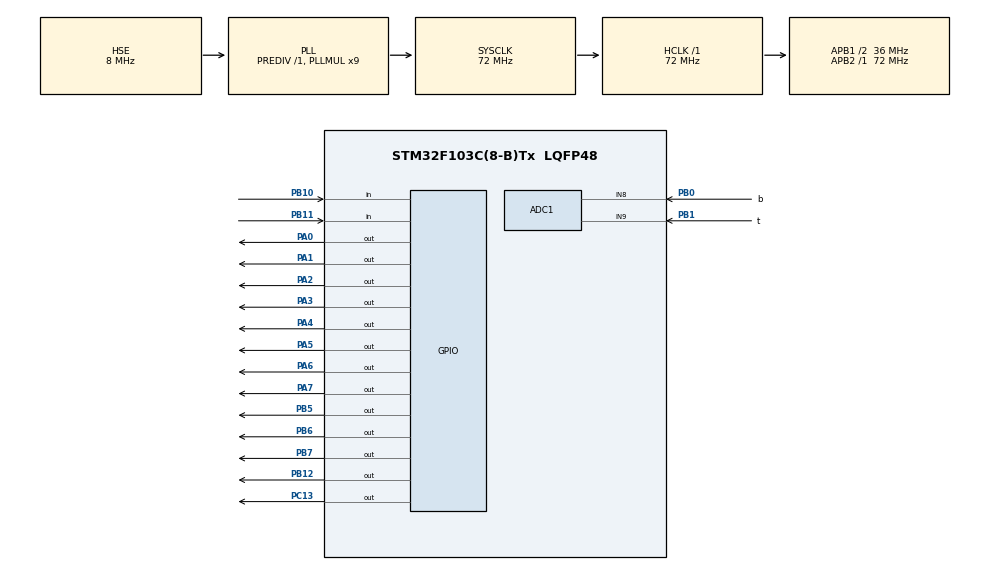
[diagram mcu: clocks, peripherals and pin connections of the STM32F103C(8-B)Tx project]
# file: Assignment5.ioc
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ADC1.Channel-2\#ChannelRegularConversion=ADC_CHANNEL_8
ADC1.NbrOfConversionFlag=1
ADC1.Rank-2\#ChannelRegularConversion=1
ADC1.SamplingTime-2\#ChannelRegularConversion=ADC_SAMPLETIME_1CYCLE_5
ADC1.master=1
ADC2.Channel-0\#ChannelRegularConversion=ADC_CHANNEL_9
ADC2.NbrOfConversionFlag=1
ADC2.Rank-0\#ChannelRegularConversion=1
ADC2.SamplingTime-0\#ChannelRegularConversion=ADC_SAMPLETIME_1CYCLE_5
FREERTOS.Queues01=BrakeQueue,16,float,0,Dynamic,NULL,NULL;ThrottleQueue,16,float,0,Dynamic,NULL,NULL;GearQueue,16,uint8_t,0,Dynamic,NULL,NULL;SpeedQueue,16,uint32_t,0,Dynamic,NULL,NULL
FREERTOS.Tasks01=breakTask,24,64,BreakInputTask,Default,NULL,Dynamic,NULL,NULL;throttleTask,24,64,ThrottleInputTask,Default,NULL,Dynamic,NULL,NULL;dataProcessingT,24,64,DataProcessingTask,Default,NULL,Dynamic,NULL,NULL;outputTask,24,64,OutputDisplayTask,Default,NULL,Dynamic,NULL,NULL;gearTask,24,64,GearSelectionTask,Default,NULL,Dynamic,NULL,NULL
FREERTOS.configMINIMAL_STACK_SIZE=64
Mcu.Family=STM32F1
Mcu.Name=STM32F103C(8-B)Tx
Mcu.Package=LQFP48
NVIC.PriorityGroup=NVIC_PRIORITYGROUP_4
NVIC.TIM2_IRQn=true\:15\:0\:false\:false\:true\:false\:false\:true\:true
NVIC.TimeBase=TIM2_IRQn
NVIC.TimeBaseIP=TIM2
PA0-WKUP.Signal=GPIO_Output
PA1.Signal=GPIO_Output
PA13.Mode=Serial_Wire
PA13.Signal=SYS_JTMS-SWDIO
PA14.Mode=Serial_Wire
PA14.Signal=SYS_JTCK-SWCLK
PA2.Signal=GPIO_Output
PA3.Signal=GPIO_Output
PA4.Signal=GPIO_Output
PA5.Signal=GPIO_Output
PA6.Signal=GPIO_Output
PA7.Signal=GPIO_Output
PB0.GPIO_Label=b
PB0.Signal=ADCx_IN8
PB1.GPIO_Label=t
PB1.Signal=ADCx_IN9
PB10.GPIO_PuPd=GPIO_PULLDOWN
PB10.Signal=GPIO_Input
PB11.GPIO_PuPd=GPIO_PULLDOWN
PB11.Signal=GPIO_Input
PB12.Signal=GPIO_Output
PB5.Signal=GPIO_Output
PB6.Signal=GPIO_Output
PB7.Signal=GPIO_Output
PC13-TAMPER-RTC.Signal=GPIO_Output
PD0-OSC_IN.Mode=HSE-External-Oscillator
PD0-OSC_IN.Signal=RCC_OSC_IN
PD1-OSC_OUT.Mode=HSE-External-Oscillator
PD1-OSC_OUT.Signal=RCC_OSC_OUT
ProjectManager.HeapSize=0x200
ProjectManager.StackSize=0x400
ProjectManager.TargetToolchain=STM32CubeIDE
RCC.ADCPresc=RCC_ADCPCLK2_DIV6
RCC.AHBFreq_Value=72000000
RCC.APB1CLKDivider=RCC_HCLK_DIV2
RCC.APB1Freq_Value=36000000
RCC.APB1TimFreq_Value=72000000
RCC.APB2Freq_Value=72000000
RCC.APB2TimFreq_Value=72000000
RCC.HCLKFreq_Value=72000000
RCC.PLLMUL=RCC_PLL_MUL9
RCC.PLLSourceVirtual=RCC_PLLSOURCE_HSE
RCC.SYSCLKFreq_VALUE=72000000
RCC.SYSCLKSource=RCC_SYSCLKSOURCE_PLLCLK
RCC.USBFreq_Value=72000000
SH.ADCx_IN8.0=ADC1_IN8,IN8
SH.ADCx_IN9.0=ADC1_IN9,IN9
SH.ADCx_IN9.1=ADC2_IN9,IN9
VP_FREERTOS_VS_CMSIS_V2.Mode=CMSIS_V2
VP_SYS_VS_tim2.Mode=TIM2
board=custom

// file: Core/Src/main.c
/* USER CODE BEGIN Header */
/**
  ******************************************************************************
  * @file           : main.c
  * @brief          : Main program body
  ******************************************************************************
  * @attention
  *
  * Copyright (c) 2022 STMicroelectronics.
  * All rights reserved.
  *
  * This software is licensed under terms that can be found in the LICENSE file
  * in the root directory of this software component.
  * If no LICENSE file comes with this software, it is provided AS-IS.
  *
  ******************************************************************************
  */
/* USER CODE END Header */
#include "main.h"
#include "cmsis_os.h"

/* USER CODE BEGIN Includes */
#include "FreeRTOS.h"
#include "task.h"
#include "timers.h"
#include "queue.h"
#include "semphr.h"
#include "event_groups.h"

/* USER CODE END Includes */

ADC_HandleTypeDef hadc1;
ADC_HandleTypeDef hadc2;

/* Definitions for breakTask */
osThreadId_t breakTaskHandle;
const osThreadAttr_t breakTask_attributes = {
  .name = "breakTask",
  .stack_size = 64 * 4,
  .priority = (osPriority_t) osPriorityNormal,
};
/* Definitions for throttleTask */
osThreadId_t throttleTaskHandle;
const osThreadAttr_t throttleTask_attributes = {
  .name = "throttleTask",
  .stack_size = 64 * 4,
  .priority = (osPriority_t) osPriorityNormal,
};
/* Definitions for dataProcessingT */
osThreadId_t dataProcessingTHandle;
const osThreadAttr_t dataProcessingT_attributes = {
  .name = "dataProcessingT",
  .stack_size = 64 * 4,
  .priority = (osPriority_t) osPriorityNormal,
};
/* Definitions for outputTask */
osThreadId_t outputTaskHandle;
const osThreadAttr_t outputTask_attributes = {
  .name = "outputTask",
  .stack_size = 64 * 4,
  .priority = (osPriority_t) osPriorityNormal,
};
/* Definitions for gearTask */
osThreadId_t gearTaskHandle;
const osThreadAttr_t gearTask_attributes = {
  .name = "gearTask",
  .stack_size = 64 * 4,
  .priority = (osPriority_t) osPriorityNormal,
};
/* Definitions for BrakeQueue */
osMessageQueueId_t BrakeQueueHandle;
const osMessageQueueAttr_t BrakeQueue_attributes = {
  .name = "BrakeQueue"
};
/* Definitions for ThrottleQueue */
osMessageQueueId_t ThrottleQueueHandle;
const osMessageQueueAttr_t ThrottleQueue_attributes = {
  .name = "ThrottleQueue"
};
/* Definitions for GearQueue */
osMessageQueueId_t GearQueueHandle;
const osMessageQueueAttr_t GearQueue_attributes = {
  .name = "GearQueue"
};
/* Definitions for SpeedQueue */
osMessageQueueId_t SpeedQueueHandle;
const osMessageQueueAttr_t SpeedQueue_attributes = {
  .name = "SpeedQueue"
};

void SystemClock_Config(void);
static void MX_GPIO_Init(void);
static void MX_ADC1_Init(void);
static void MX_ADC2_Init(void);
void BreakInputTask(void *argument);
void ThrottleInputTask(void *argument);
void DataProcessingTask(void *argument);
void OutputDisplayTask(void *argument);
void GearSelectionTask(void *argument);

/* USER CODE BEGIN 0 */
void writeToDisplay(char hexChar) {
  // Write a char (8 bits) to the 8 data pins (A0 - A7)
  int dataPins[8] = {GPIO_PIN_0,GPIO_PIN_1,GPIO_PIN_2,GPIO_PIN_3,GPIO_PIN_4,GPIO_PIN_5,GPIO_PIN_6,GPIO_PIN_7};

  for(int i = 0; i<8; i++) {
    int result = hexChar & (1 << i);
    GPIO_PinState pinState = result ? GPIO_PIN_SET : GPIO_PIN_RESET;

    HAL_GPIO_WritePin(GPIOA, dataPins[i], pinState);
    osDelay(1);
  }

  // Set E = 1 for at least 230ns (latching pulse)
  HAL_GPIO_WritePin(GPIOB, GPIO_PIN_5, GPIO_PIN_SET);
  osDelay(5);
  HAL_GPIO_WritePin(GPIOB, GPIO_PIN_5, GPIO_PIN_RESET);
  osDelay(5);
}

void sendData(char hexChar) {
  // E not enabled
  HAL_GPIO_WritePin(GPIOB, GPIO_PIN_5, GPIO_PIN_RESET);
  osDelay(3);

  // Select data register
  HAL_GPIO_WritePin(GPIOB, GPIO_PIN_7, GPIO_PIN_SET);
  osDelay(3);

  // Select write mode
  HAL_GPIO_WritePin(GPIOB, GPIO_PIN_6, GPIO_PIN_RESET);
  osDelay(3);

  // Call function to write hex character to D7-D0
  writeToDisplay(hexChar);
}

void sendCommand(char hexCommand) {
  // E not enabled
  HAL_GPIO_WritePin(GPIOB, GPIO_PIN_5, GPIO_PIN_RESET);
  osDelay(3);

  // Select command register
  HAL_GPIO_WritePin(GPIOB, GPIO_PIN_7, GPIO_PIN_RESET);
  osDelay(3);

  // Select write mode
  HAL_GPIO_WritePin(GPIOB, GPIO_PIN_6, GPIO_PIN_RESET);
  osDelay(3);

  // Call function to write hex character to D7-D0
  writeToDisplay(hexCommand);
}

void clearDisplay() {
   // E not enabled
  HAL_GPIO_WritePin(GPIOB, GPIO_PIN_5, GPIO_PIN_RESET);
  osDelay(10);

  sendCommand(56);
  osDelay(10);
  sendCommand(15);
  osDelay(10);
  sendCommand(1);
  osDelay(10);
  sendCommand(6);
  osDelay(10);
}

void printDigits(int value, int num_digits) {
    int digits[6] = {0};

    int i = 0;
    while(value) {
        digits[i] = value % 10;
        value /= 10;
        i++;
    }

    for(int i = num_digits - 1; i >= 0; i--){
        sendData(0b00110000 + digits[i]);
    }
}

/* USER CODE END 0 */

int main(void)
{

  /* MCU Configuration--------------------------------------------------------*/

  /* Reset of all peripherals, Initializes the Flash interface and the Systick. */
  HAL_Init();

  /* Configure the system clock */
  SystemClock_Config();

  /* Initialize all configured peripherals */
  MX_GPIO_Init();
  MX_ADC1_Init();
  MX_ADC2_Init();

  /* Init scheduler */
  osKernelInitialize();

  /* Create the queue(s) */
  /* creation of BrakeQueue */
  BrakeQueueHandle = osMessageQueueNew (16, sizeof(float), &BrakeQueue_attributes);

  /* creation of ThrottleQueue */
  ThrottleQueueHandle = osMessageQueueNew (16, sizeof(float), &ThrottleQueue_attributes);

  /* creation of GearQueue */
  GearQueueHandle = osMessageQueueNew (16, sizeof(uint8_t), &GearQueue_attributes);

  /* creation of SpeedQueue */
  SpeedQueueHandle = osMessageQueueNew (16, sizeof(uint32_t), &SpeedQueue_attributes);

  /* Create the thread(s) */
  /* creation of breakTask */
  breakTaskHandle = osThreadNew(BreakInputTask, NULL, &breakTask_attributes);

  /* creation of throttleTask */
  throttleTaskHandle = osThreadNew(ThrottleInputTask, NULL, &throttleTask_attributes);

  /* creation of dataProcessingT */
  dataProcessingTHandle = osThreadNew(DataProcessingTask, NULL, &dataProcessingT_attributes);

  /* creation of outputTask */
  outputTaskHandle = osThreadNew(OutputDisplayTask, NULL, &outputTask_attributes);

  /* creation of gearTask */
  gearTaskHandle = osThreadNew(GearSelectionTask, NULL, &gearTask_attributes);

  /* Start scheduler */
  osKernelStart();

  /* We should never get here as control is now taken by the scheduler */
  /* Infinite loop */
  while (1)
  {

  }
}

void SystemClock_Config(void)
{
  RCC_OscInitTypeDef RCC_OscInitStruct = {0};
  RCC_ClkInitTypeDef RCC_ClkInitStruct = {0};
  RCC_PeriphCLKInitTypeDef PeriphClkInit = {0};

  /** Initializes the RCC Oscillators according to the specified parameters
  * in the RCC_OscInitTypeDef structure.
  */
  RCC_OscInitStruct.OscillatorType = RCC_OSCILLATORTYPE_HSE;
  RCC_OscInitStruct.HSEState = RCC_HSE_ON;
  RCC_OscInitStruct.HSEPredivValue = RCC_HSE_PREDIV_DIV1;
  RCC_OscInitStruct.HSIState = RCC_HSI_ON;
  RCC_OscInitStruct.PLL.PLLState = RCC_PLL_ON;
  RCC_OscInitStruct.PLL.PLLSource = RCC_PLLSOURCE_HSE;
  RCC_OscInitStruct.PLL.PLLMUL = RCC_PLL_MUL9;
  if (HAL_RCC_OscConfig(&RCC_OscInitStruct) != HAL_OK)
  {
    Error_Handler();
  }

  /** Initializes the CPU, AHB and APB buses clocks
  */
  RCC_ClkInitStruct.ClockType = RCC_CLOCKTYPE_HCLK|RCC_CLOCKTYPE_SYSCLK
                              |RCC_CLOCKTYPE_PCLK1|RCC_CLOCKTYPE_PCLK2;
  RCC_ClkInitStruct.SYSCLKSource = RCC_SYSCLKSOURCE_PLLCLK;
  RCC_ClkInitStruct.AHBCLKDivider = RCC_SYSCLK_DIV1;
  RCC_ClkInitStruct.APB1CLKDivider = RCC_HCLK_DIV2;
  RCC_ClkInitStruct.APB2CLKDivider = RCC_HCLK_DIV1;

  if (HAL_RCC_ClockConfig(&RCC_ClkInitStruct, FLASH_LATENCY_2) != HAL_OK)
  {
    Error_Handler();
  }
  PeriphClkInit.PeriphClockSelection = RCC_PERIPHCLK_ADC;
  PeriphClkInit.AdcClockSelection = RCC_ADCPCLK2_DIV6;
  if (HAL_RCCEx_PeriphCLKConfig(&PeriphClkInit) != HAL_OK)
  {
    Error_Handler();
  }
}

static void MX_ADC1_Init(void)
{

  ADC_ChannelConfTypeDef sConfig = {0};

  /** Common config
  */
  hadc1.Instance = ADC1;
  hadc1.Init.ScanConvMode = ADC_SCAN_DISABLE;
  hadc1.Init.ContinuousConvMode = DISABLE;
  hadc1.Init.DiscontinuousConvMode = DISABLE;
  hadc1.Init.ExternalTrigConv = ADC_SOFTWARE_START;
  hadc1.Init.DataAlign = ADC_DATAALIGN_RIGHT;
  hadc1.Init.NbrOfConversion = 1;
  if (HAL_ADC_Init(&hadc1) != HAL_OK)
  {
    Error_Handler();
  }

  /** Configure Regular Channel
  */
  sConfig.Channel = ADC_CHANNEL_8;
  sConfig.Rank = ADC_REGULAR_RANK_1;
  sConfig.SamplingTime = ADC_SAMPLETIME_1CYCLE_5;
  if (HAL_ADC_ConfigChannel(&hadc1, &sConfig) != HAL_OK)
  {
    Error_Handler();
  }

}

static void MX_ADC2_Init(void)
{

  ADC_ChannelConfTypeDef sConfig = {0};

  /** Common config
  */
  hadc2.Instance = ADC2;
  hadc2.Init.ScanConvMode = ADC_SCAN_DISABLE;
  hadc2.Init.ContinuousConvMode = DISABLE;
  hadc2.Init.DiscontinuousConvMode = DISABLE;
  hadc2.Init.ExternalTrigConv = ADC_SOFTWARE_START;
  hadc2.Init.DataAlign = ADC_DATAALIGN_RIGHT;
  hadc2.Init.NbrOfConversion = 1;
  if (HAL_ADC_Init(&hadc2) != HAL_OK)
  {
    Error_Handler();
  }

  /** Configure Regular Channel
  */
  sConfig.Channel = ADC_CHANNEL_9;
  sConfig.Rank = ADC_REGULAR_RANK_1;
  sConfig.SamplingTime = ADC_SAMPLETIME_1CYCLE_5;
  if (HAL_ADC_ConfigChannel(&hadc2, &sConfig) != HAL_OK)
  {
    Error_Handler();
  }

}

static void MX_GPIO_Init(void)
{
  GPIO_InitTypeDef GPIO_InitStruct = {0};

  /* GPIO Ports Clock Enable */
  __HAL_RCC_GPIOC_CLK_ENABLE();
  __HAL_RCC_GPIOD_CLK_ENABLE();
  __HAL_RCC_GPIOA_CLK_ENABLE();
  __HAL_RCC_GPIOB_CLK_ENABLE();

  /*Configure GPIO pin Output Level */
  HAL_GPIO_WritePin(GPIOC, GPIO_PIN_13, GPIO_PIN_RESET);

  /*Configure GPIO pin Output Level */
  HAL_GPIO_WritePin(GPIOA, GPIO_PIN_0|GPIO_PIN_1|GPIO_PIN_2|GPIO_PIN_3
                          |GPIO_PIN_4|GPIO_PIN_5|GPIO_PIN_6|GPIO_PIN_7, GPIO_PIN_RESET);

  /*Configure GPIO pin Output Level */
  HAL_GPIO_WritePin(GPIOB, GPIO_PIN_12|GPIO_PIN_5|GPIO_PIN_6|GPIO_PIN_7, GPIO_PIN_RESET);

  /*Configure GPIO pin : PC13 */
  GPIO_InitStruct.Pin = GPIO_PIN_13;
  GPIO_InitStruct.Mode = GPIO_MODE_OUTPUT_PP;
  GPIO_InitStruct.Pull = GPIO_NOPULL;
  GPIO_InitStruct.Speed = GPIO_SPEED_FREQ_LOW;
  HAL_GPIO_Init(GPIOC, &GPIO_InitStruct);

  /*Configure GPIO pins : PA0 PA1 PA2 PA3
                           PA4 PA5 PA6 PA7 */
  GPIO_InitStruct.Pin = GPIO_PIN_0|GPIO_PIN_1|GPIO_PIN_2|GPIO_PIN_3
                          |GPIO_PIN_4|GPIO_PIN_5|GPIO_PIN_6|GPIO_PIN_7;
  GPIO_InitStruct.Mode = GPIO_MODE_OUTPUT_PP;
  GPIO_InitStruct.Pull = GPIO_NOPULL;
  GPIO_InitStruct.Speed = GPIO_SPEED_FREQ_LOW;
  HAL_GPIO_Init(GPIOA, &GPIO_InitStruct);

  /*Configure GPIO pins : PB10 PB11 */
  GPIO_InitStruct.Pin = GPIO_PIN_10|GPIO_PIN_11;
  GPIO_InitStruct.Mode = GPIO_MODE_INPUT;
  GPIO_InitStruct.Pull = GPIO_PULLDOWN;
  HAL_GPIO_Init(GPIOB, &GPIO_InitStruct);

  /*Configure GPIO pins : PB12 PB5 PB6 PB7 */
  GPIO_InitStruct.Pin = GPIO_PIN_12|GPIO_PIN_5|GPIO_PIN_6|GPIO_PIN_7;
  GPIO_InitStruct.Mode = GPIO_MODE_OUTPUT_PP;
  GPIO_InitStruct.Pull = GPIO_NOPULL;
  GPIO_InitStruct.Speed = GPIO_SPEED_FREQ_LOW;
  HAL_GPIO_Init(GPIOB, &GPIO_InitStruct);

}

void BreakInputTask(void *argument)
{
  /* USER CODE BEGIN 5 */
  /* Infinite loop */
  for(;;)
  {
    // Read value from potentiometer
	HAL_ADC_Start(&hadc2);
	HAL_ADC_PollForConversion(&hadc2, 300);
	int potentiometerValue = HAL_ADC_GetValue(&hadc2);

	float currentValue = potentiometerValue/4095.0f;

    // Place value in BrakeQueue
	xQueueSendToBack(BrakeQueueHandle, &currentValue, 10);

    osDelay(10);

  }
  /* USER CODE END 5 */
}

void ThrottleInputTask(void *argument)
{
  /* USER CODE BEGIN ThrottleInputTask */
  /* Infinite loop */
  for(;;)
  {
     // Read value from potentiometer
     HAL_ADC_Start(&hadc1);
     HAL_ADC_PollForConversion(&hadc1, 300);
     int potentiometerValue = HAL_ADC_GetValue(&hadc1);

	float currentValue = potentiometerValue/4095.0f;

    // Place value in ThrottleQueue
	xQueueSendToBack(ThrottleQueueHandle, &currentValue, 10);

    osDelay(10);
  }
  /* USER CODE END ThrottleInputTask */
}

void DataProcessingTask(void *argument)
{
  /* USER CODE BEGIN DataProcessingTask */
  // Only once.

  // Iniitialize variables
  int DesiredSpeed = 0;
  float AverageBrakePercentage = 0.0;
  float AverageThrottlePercentage = 0.0;
  int RequestedGear = 0;

  int Acceleration;
  int MaximumSpeed;

  /* Infinite loop */
  for(;;)
  {
    // Read values from queues amnd calculate averages
    // Break Queue
    float valueFromBrakeQueue;
    int itemsInBrakeQueue = uxQueueMessagesWaiting(BrakeQueueHandle);
    AverageBrakePercentage = 0.0;
    for(int i = 0; i < itemsInBrakeQueue; i++) {
        if(xQueueReceive(BrakeQueueHandle, &valueFromBrakeQueue, 10) == pdTRUE) {
            AverageBrakePercentage = AverageBrakePercentage + valueFromBrakeQueue/itemsInBrakeQueue;
        }
    }

    // Throttle Queue
    float valueFromThrottleQueue;
    int itemsInThrottleQueue = uxQueueMessagesWaiting(ThrottleQueueHandle);
    AverageThrottlePercentage = 0.0;
    for(int i = 0; i < itemsInThrottleQueue; i++) {
        if(xQueueReceive(ThrottleQueueHandle, &valueFromThrottleQueue, 10) == pdTRUE) {
            AverageThrottlePercentage = AverageThrottlePercentage + valueFromThrottleQueue/itemsInThrottleQueue;
        }
    }

    // Read value from Gear queue
    if(xQueueReceive(GearQueueHandle, &RequestedGear, 10) != pdTRUE) {
    	RequestedGear = 0;
    };

    if(RequestedGear == 0) {
        Acceleration = -400;
    } else if(RequestedGear == 1) {
        // Gear is Forward Speed 1
        MaximumSpeed = 80000;

        // Invalid state where breaks and throttle are pressed at the same time
        if(AverageBrakePercentage > 0 && AverageThrottlePercentage > 0) {
            Acceleration = 0;
        }

        if(AverageBrakePercentage == 0 && AverageThrottlePercentage > 0) {
             Acceleration = 1600*AverageThrottlePercentage;
        }

        if(AverageThrottlePercentage == 0 && AverageBrakePercentage > 0) {
            Acceleration = -3200*AverageBrakePercentage;
        }
    } else {
        // Gear is Forward Speed 2
        MaximumSpeed = 200000;

        // Invalid state where breaks and throttle are pressed at the same time
        if(AverageBrakePercentage > 0 && AverageThrottlePercentage > 0) {
            Acceleration = 0;
        }

        if(AverageBrakePercentage == 0 && AverageThrottlePercentage > 0) {
             Acceleration = 2400*AverageThrottlePercentage;
        }

        if(AverageThrottlePercentage == 0 && AverageBrakePercentage > 0) {
            Acceleration = -3200*AverageBrakePercentage;
        }
    }

    DesiredSpeed = DesiredSpeed + Acceleration;
    if(DesiredSpeed < 0) {
        DesiredSpeed = 0;
    } else if(DesiredSpeed > MaximumSpeed) {
        DesiredSpeed = MaximumSpeed;
    }

    // Place desired speed in the queue
    xQueueSendToBack(SpeedQueueHandle, &DesiredSpeed, 10);

    if(RequestedGear == 1) {
        HAL_GPIO_WritePin(GPIOB, GPIO_PIN_12, GPIO_PIN_SET);
    } else {
        HAL_GPIO_WritePin(GPIOB, GPIO_PIN_12, GPIO_PIN_RESET);
    }

    osDelay(100);
  }
  /* USER CODE END DataProcessingTask */
}

void OutputDisplayTask(void *argument)
{
  /* USER CODE BEGIN OutputDisplayTask */
  // Initialize variables
  int AverageDesiredSpeed = 0;

  /* Infinite loop */
  for(;;)
  {
    // Read data from speed
    int valueFromSpeedQueue;
    int itemsInSpeedQueue = uxQueueMessagesWaiting(SpeedQueueHandle);
    AverageDesiredSpeed = 0;
    for(int i = 0; i < itemsInSpeedQueue; i++) {
        if(xQueueReceive(SpeedQueueHandle, &valueFromSpeedQueue, 10) == pdTRUE) {
            AverageDesiredSpeed = AverageDesiredSpeed + valueFromSpeedQueue/itemsInSpeedQueue;
        }
    }

    float speedPercentage = AverageDesiredSpeed/200000.0f;

    // Convert to km/h
    int SpeedToDisplay = AverageDesiredSpeed/1000;

    // Set percentage as duty cycle in PWM pin
    // Display the SpeedToDisplay to an external display
	clearDisplay();
	printDigits((int)SpeedToDisplay, 3);
	sendData(' ');
	sendData('k');
	sendData('p');
	sendData('h');
	sendCommand(0xC0);
	printDigits((int)(speedPercentage*100), 3);
	sendData('%');

    osDelay(500);
  }
  /* USER CODE END OutputDisplayTask */
}

void GearSelectionTask(void *argument)
{
  /* USER CODE BEGIN GearSelectionTask */

  /* Infinite loop */
  for(;;)
  {
    // 0 -> Parking/Neutral
    // 1 -> Forward Speed 1
    // 2 -> Forward Speed 2

    // Read 2 bit dip switch and convert to 0, 1, or 2
    // B10, B11
    int selectedGear = 0;

    int firstPin = HAL_GPIO_ReadPin(GPIOB, GPIO_PIN_10);
    int secondPin = HAL_GPIO_ReadPin(GPIOB, GPIO_PIN_11);

    selectedGear = firstPin + 2*secondPin;

    // Write to GearQueue
    xQueueSendToBack(GearQueueHandle, &selectedGear, 10);

    osDelay(50);
  }
  /* USER CODE END GearSelectionTask */
}

void HAL_TIM_PeriodElapsedCallback(TIM_HandleTypeDef *htim)
{
  if (htim->Instance == TIM2) {
    HAL_IncTick();
  }
}

void Error_Handler(void)
{
  __disable_irq();
  while (1)
  {
  }
}
